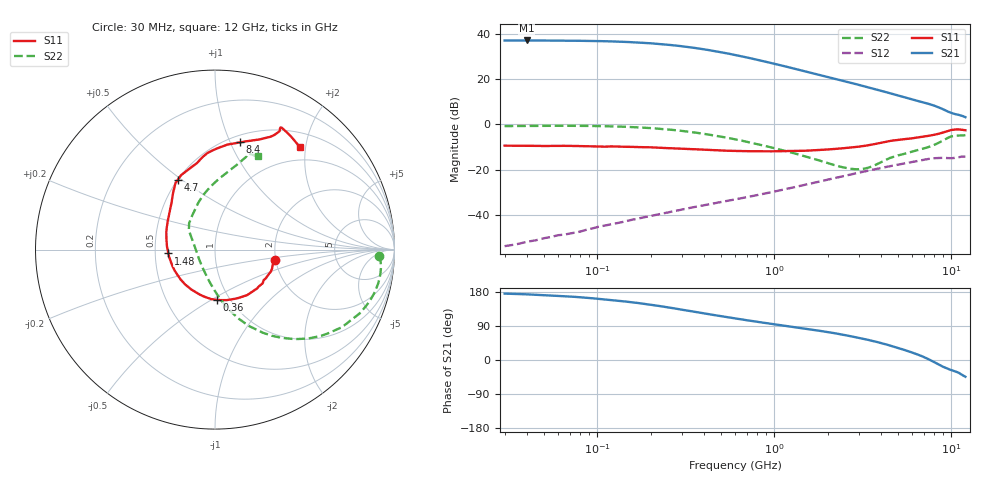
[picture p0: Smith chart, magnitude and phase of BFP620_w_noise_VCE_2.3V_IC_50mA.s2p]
! Infineon Technologies  Discrete & RF Semiconductors
! BFP620
! VCE =  2.3 V,  IC =  50 mA
! Common Emitter S-Parameters:  Nov 2015
# GHz  S  MA  R  50
!  f  S11  S21  S12  S22
! GHz  MAG  ANG  MAG  ANG  MAG  ANG  MAG  ANG
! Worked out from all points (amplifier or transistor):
!   239 points, 30 MHz to 12 GHz, reference 50 ohm
!   highest |S21| = 37.2 dB at 40 MHz (marker M1)
!   |S21| within 3 dB of that: start of sweep to 332.7 MHz
!   unconditionally stable (mu >= 1): 1.967 GHz to end of sweep
!   at 300 MHz: K = 0.50, MSG = 36.2 dB, |S12| = -37.8 dB
!   at 1.88 GHz: K = 0.99, MSG = 23.3 dB, |S12| = -25.0 dB
!   at 12 GHz: K = 1.09, MAG = 6.9 dB, |S12| = -14.3 dB
!   lowest NFmin = 1.51 dB at 450 MHz
!   S11 on the Smith chart (normalised r, x): 30 MHz: 1.98, -0.25; 360 MHz: 0.87, -0.53; 1.48 GHz: 0.59, -0.03; 4.7 GHz: 0.50, +0.48; 8.4 GHz: 0.57, +1.09; 12 GHz: 0.75, +1.89
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0.03  0.3379 -9.4  72.2 175.2  0.002 83.5  0.917 -2.1
0.04  0.3365 -12.5  72.46 173.3  0.0025 81.3  0.925 -4.1
0.07  0.3341 -21.8  71.88 167.5  0.0038 78.6  0.9307 -10.0
0.085  0.3287 -25.1  70.99 164.6  0.0045 77.9  0.926 -12.7
0.11  0.3201 -32.2  69.79 159.9  0.0057 76.8  0.912 -17.4
0.145  0.3188 -41.4  67.23 154.2  0.0071 74.9  0.8839 -23.2
0.185  0.3115 -51.1  63.85 148.1  0.0088 73.5  0.8421 -29.2
0.24  0.2998 -63.8  59.13 140.3  0.0108 71.6  0.7833 -36.6
0.3  0.2889 -76.7  54.01 132.8  0.0129 70.1  0.7183 -43.6
0.36  0.2806 -87.4  49.15 126.7  0.0149 69.1  0.656 -49.3
0.45  0.2698 -101.7  42.73 119.1  0.0176 67.9  0.574 -56.7
0.6  0.2586 -120.6  34.52 109.7  0.0218 66.9  0.467 -65.9
0.7  0.2556 -130.6  30.35 104.8  0.0244 66.4  0.4109 -70.7
0.9  0.2526 -146.6  24.27 97.3  0.0298 65.8  0.3279 -78.5
1.14  0.2542 -160.5  19.5 90.6  0.0363 64.5  0.2609 -86.0
1.48  0.2604 -175.3  15.19 83.1  0.0456 62.3  0.1987 -95.9
1.64  0.2657 178.7  13.74 80.0  0.0498 61.1  0.1768 -100.8
2.6  0.3024 151.6  8.693 64.2  0.0749 52.5  0.1067 -142.2
4.5  0.4314 120.7  4.9 38.1  0.1184 32.9  0.1804 143.8
4.7  0.4405 118.1  4.684 35.7  0.1222 30.8  0.19 139.8
8.4  0.6143 76.8  2.418 -10.8  0.1801 -8.5  0.3838 88.5
12  0.7413 50.3  1.445 -44.2  0.1927 -37.4  0.5762 65.3
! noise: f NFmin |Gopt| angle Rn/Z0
0.45  1.51  0.29  -166  0.1
0.9  1.52  0.32  -155  0.11
1.9  1.54  0.35  -138  0.12
2.4  1.56  0.35  -136  0.13
3.5  1.59  0.41  -105  0.23
5.5  1.87  0.43  -85  0.32
10  2.18  0.66  -43  1.22
